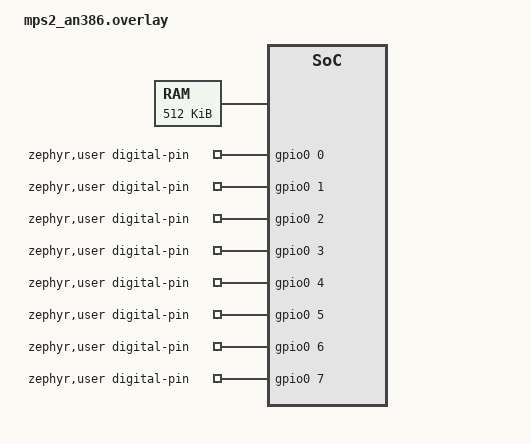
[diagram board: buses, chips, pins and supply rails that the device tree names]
/*
 * Copyright (c) 2026 RAKwireless Technology Limited
 * Author: sercan.erat@rakwireless.com
 * SPDX-License-Identifier: Apache-2.0
 */

/*
 * The sketch partition lives on the simulated flash, whose storage is the
 * last 512 KB of SRAM. With memory-region set, Zephyr does not erase it at
 * boot, so QEMU can preload a sketch there (-device loader,addr=0x20380000).
 * The flash node sits at the same address because the loader runs the
 * sketch in place from DT_PARTITION_ADDR(user_sketch).
 */
/ {
	sketch_sram: memory@20380000 {
		compatible = "zephyr,memory-region", "mmio-sram";
		reg = <0x20380000 0x80000>;
		zephyr,memory-region = "SketchFlash";
	};
};

&sram0 {
	reg = <0x20000000 0x380000>;
};

/delete-node/ &flash_sim0;

&sim_flash_controller {
	memory-region = <&sketch_sram>;

	flash_sim0: flash_sim@20380000 {
		compatible = "soc-nv-flash";
		reg = <0x20380000 0x80000>;
		erase-block-size = <1024>;
		write-block-size = <4>;

		partitions {
			compatible = "fixed-partitions";
			#address-cells = <1>;
			#size-cells = <1>;

			user_sketch: partition@0 {
				label = "user_sketch";
				reg = <0x00000000 0x00078000>;
			};

			storage_partition: partition@78000 {
				label = "storage";
				reg = <0x00078000 0x00008000>;
			};
		};
	};
};

/* Arduino API pin mappings */
/ {
	zephyr,user {
		digital-pin-gpios = <&gpio0 0 0>,	/* D0 - GPIO0[0] */
				    <&gpio0 1 0>,	/* D1 - GPIO0[1] */
				    <&gpio0 2 0>,	/* D2 - GPIO0[2] */
				    <&gpio0 3 0>,	/* D3 - GPIO0[3] */
				    <&gpio0 4 0>,	/* D4 - GPIO0[4] */
				    <&gpio0 5 0>,	/* D5 - GPIO0[5] */
				    <&gpio0 6 0>,	/* D6 - GPIO0[6] */
				    <&gpio0 7 0>,	/* D7 - GPIO0[7] */
				    <&gpio0 8 0>,	/* D8 - GPIO0[8] */
				    <&gpio0 9 0>,	/* D9 - GPIO0[9] */
				    <&gpio0 10 0>,	/* D10 - GPIO0[10] */
				    <&gpio0 11 0>,	/* D11 - GPIO0[11] */
				    <&gpio0 12 0>,	/* D12 - GPIO0[12] */
				    <&gpio0 13 0>,	/* D13 - GPIO0[13] */
				    <&gpio0 14 0>,	/* D14 - GPIO0[14] */
				    <&gpio0 15 0>,	/* D15 - GPIO0[15] */
				    <&gpio_led0 0>,	/* D16 - USERLED0 */
				    <&gpio_led0 1>,	/* D17 - USERLED1 */
				    <&gpio_button 0>,	/* D18 - USERPB0 */
				    <&gpio_button 1>;	/* D19 - USERPB1 */

		serials = <&uart0>, <&uart1>; /* 'Serial' (zephyr,console), 'Serial1' */
		i2cs = <&i2c_shield0>; /* 'Wire' */
	};
};
